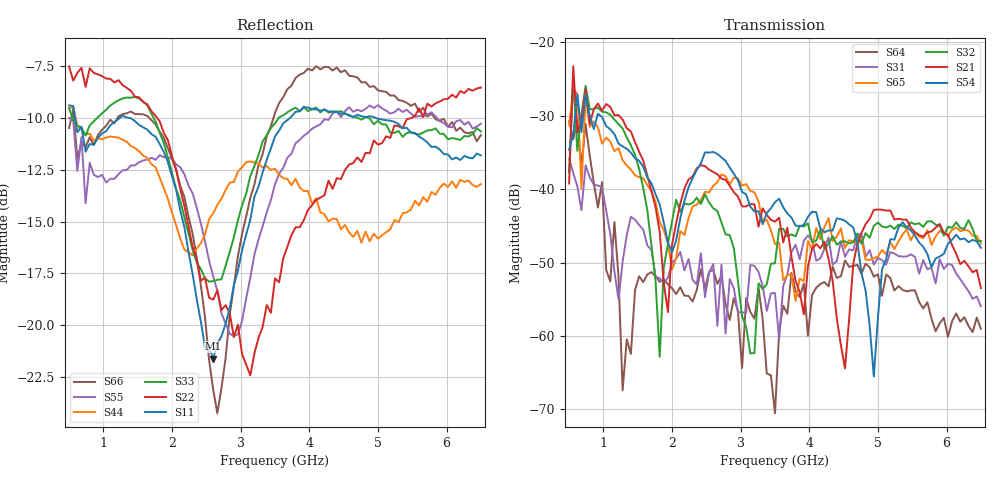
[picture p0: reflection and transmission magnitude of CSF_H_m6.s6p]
!Keysight Technologies,M9804A,MY58100912,A.14.10.03
!Date: Thursday, April 27, 2023 10:28:33
!Correction: S11(C  6-Port  )
!S12(C  6-Port  )
!S13(C  6-Port  )
!S14(C  6-Port  )
!S15(C  6-Port  )
!S16(C  6-Port  )
!S21(C  6-Port  )
!S22(C  6-Port  )
!S23(C  6-Port  )
!S24(C  6-Port  )
!S25(C  6-Port  )
!S26(C  6-Port  )
!S31(C  6-Port  )
!S32(C  6-Port  )
!S33(C  6-Port  )
!S34(C  6-Port  )
!S35(C  6-Port  )
!S36(C  6-Port  )
!S41(C  6-Port  )
!S42(C  6-Port  )
!S43(C  6-Port  )
!S44(C  6-Port  )
!S45(C  6-Port  )
!S46(C  6-Port  )
!S51(C  6-Port  )
!S52(C  6-Port  )
!S53(C  6-Port  )
!S54(C  6-Port  )
!S55(C  6-Port  )
!S56(C  6-Port  )
!S61(C  6-Port  )
!S62(C  6-Port  )
!S63(C  6-Port  )
!S64(C  6-Port  )
!S65(C  6-Port  )
!S66(C  6-Port  )
!S6P File: Measurement: :
# Hz S  RI  R 50
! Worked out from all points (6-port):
!   101 points, 500 MHz to 6.5 GHz, reference 50 ohm
!   strongest paths, dB at 500 MHz, 2 GHz, 3.5 GHz, 5 GHz, 6.5 GHz:
!     S54: -34.6, -48.6, -41.8, -57.5, -48.0
!     S21: -39.2, -47.5, -44.4, -42.8, -53.5
!     S32: -37.7, -44.4, -50.1, -44.5, -47.1
!     S65: -31.2, -50.9, -47.5, -49.2, -47.4
!     S31: -35.8, -50.0, -54.2, -49.4, -56.0
!     S64: -30.8, -53.5, -70.5, -51.6, -59.0
!   lowest |S11| = -21.6 dB at 2.6 GHz (marker M1), VSWR 1.18, Z = 42.6 + j2.01 ohm
!   |S11| at or under -10 dB: 587.3 MHz to 1.238 GHz (650.7 MHz wide, 71.3 % of centre); 1.382 GHz to 3.715 GHz (2.333 GHz wide, 91.5 % of centre); 4.971 GHz to end of sweep
